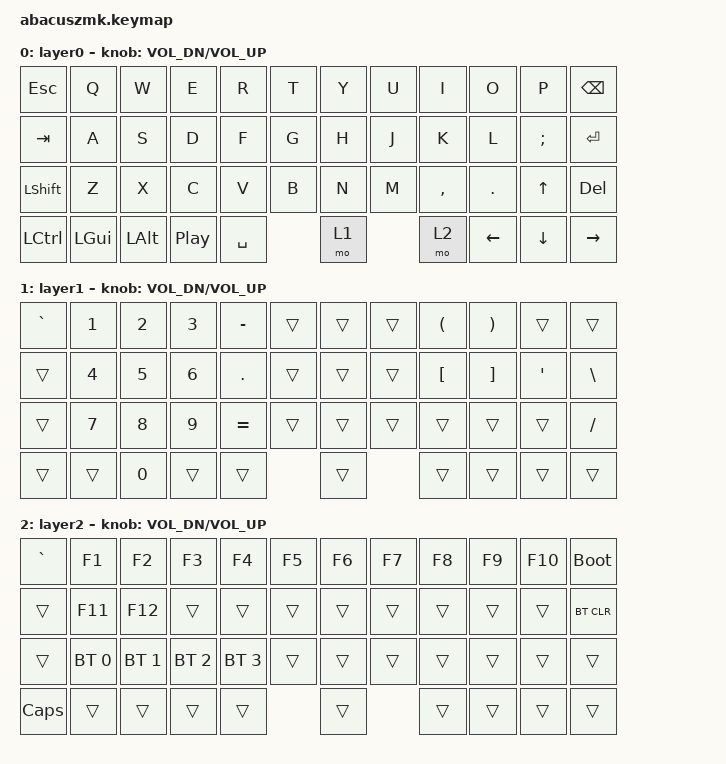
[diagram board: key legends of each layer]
#include <behaviors.dtsi>
#include <dt-bindings/zmk/bt.h>
#include <dt-bindings/zmk/keys.h>

/ {
    keymap {
        compatible = "zmk,keymap";

        layer0 {
            bindings = <
&kp ESCAPE        &kp Q         &kp W         &kp E             &kp R      &kp T  &kp Y  &kp U  &kp I      &kp O     &kp P          &kp BACKSPACE
&kp TAB           &kp A         &kp S         &kp D             &kp F      &kp G  &kp H  &kp J  &kp K      &kp L     &kp SEMICOLON  &kp ENTER
&kp LEFT_SHIFT    &kp Z         &kp X         &kp C             &kp V      &kp B  &kp N  &kp M  &kp COMMA  &kp DOT   &kp UP         &kp DELETE
&kp LEFT_CONTROL  &kp LEFT_GUI  &kp LEFT_ALT  &kp C_PLAY_PAUSE  &kp SPACE         &mo 1         &mo 2      &kp LEFT  &kp DOWN       &kp RIGHT
            >;

            sensor-bindings = <&inc_dec_kp C_VOL_DN C_VOLUME_UP>;
        };

        layer1 {
            bindings = <
&kp GRAVE  &kp N1        &kp N2        &kp N3        &kp MINUS   &trans  &trans  &trans  &kp LEFT_PARENTHESIS  &kp RIGHT_PARENTHESIS  &trans            &trans
&trans     &kp NUMBER_4  &kp NUMBER_5  &kp NUMBER_6  &kp PERIOD  &trans  &trans  &trans  &kp LEFT_BRACKET      &kp RIGHT_BRACKET      &kp SINGLE_QUOTE  &kp BACKSLASH
&trans     &kp NUMBER_7  &kp NUMBER_8  &kp NUMBER_9  &kp EQUAL   &trans  &trans  &trans  &trans                &trans                 &trans            &kp SLASH
&trans     &trans        &kp NUMBER_0  &trans        &trans              &trans          &trans                &trans                 &trans            &trans
            >;

            sensor-bindings = <&inc_dec_kp C_VOL_DN C_VOL_UP>;
        };

        layer2 {
            bindings = <
&kp GRAVE     &kp F1        &kp F2        &kp F3        &kp F4        &kp F5  &kp F6  &kp F7  &kp F8  &kp F9  &kp F10  &bootloader
&trans        &kp F11       &kp F12       &trans        &trans        &trans  &trans  &trans  &trans  &trans  &trans   &bt BT_CLR
&trans        &bt BT_SEL 0  &bt BT_SEL 1  &bt BT_SEL 2  &bt BT_SEL 3  &trans  &trans  &trans  &trans  &trans  &trans   &trans
&kp CAPSLOCK  &trans        &trans        &trans        &trans                &trans          &trans  &trans  &trans   &trans
            >;

            sensor-bindings = <&inc_dec_kp C_VOL_DN C_VOL_UP>;
        };
    };
};
